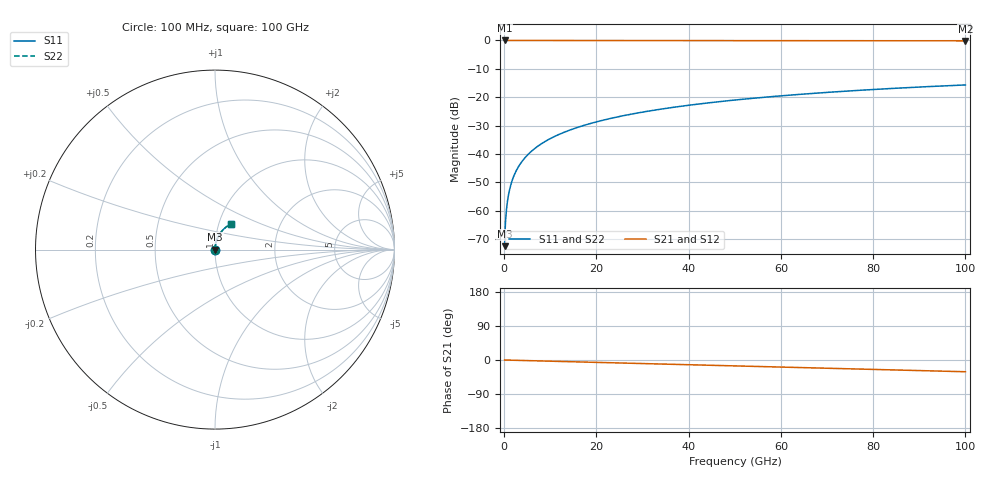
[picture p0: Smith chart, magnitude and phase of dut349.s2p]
! Touchstone file exported from HFSS 2026.1.0
!  File:  C:/ffzhzh/LocalFiles/Ansys_Project_Files/temp_train_TSV_349_1783509998_31944.aedt
!  Generated:  07:28:04 PM Jul  8, 2026
!  Design:  TSV
!  Project:  temp_train_TSV_349_1783509998_31944
! Variables:
!  h_bsmrdl = 2um
!  h_ox = 20um
!  h_rdl = 5um
!  h_sub = 51.63um
!  h_tmrdl = 5um
!  h_tsv = 51.63um
!  h_via = 3um
!  l_bsmrdl = 300um
!  l_sub = 418.1um
!  l_tmrdl = 200um
!  m_sub = 200um
!  pitch = 54.82um
!  r_tsv = 9.05um
!  s_tmrdl = 10um
!  w_bsmrdl = 18um
!  w_sub = 500um
!  w_tmrdl = 12um
!  x_tsv_center1 = 206um
!  x_tsv_center2 = 524um
!  x_tsv_center3 = 736um
!  x_tsv_center4 = 1054um
!  x_tsv_center5 = 1266um
!  x_tsv_center6 = 1584um
# GHz S MA R 50.000000
! Terminal data exported
! Port[1] = TSV1_1_T1
! Port[2] = TSV1_1_T2
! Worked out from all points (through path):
!   1000 points, 100 MHz to 100 GHz, reference 50 ohm
!   highest |S21| = 0.00 dB at 100 MHz (marker M1); lowest = -0.1 dB at 100 GHz (marker M2)
!   group delay of S21, straight-line fit = 861 fs
!   lowest |S11| = -72.4 dB at 100 MHz (marker M3), VSWR 1.00, Z = 50 + j0.0214 ohm
!   |S11| at or under -10 dB: start of sweep to end of sweep
!   |S22| runs from -72.4 to -15.7 dB; largest |S21 - S12| = 3.5e-15
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0.1  0.0002385 63.7  0.9999 -0.0  0.9999 -0.0  0.0002385 63.7
! Gamma 0 0 0 0
! Port Impedance 50 0 50 0
0.3  0.000644 78.5  0.9999 -0.1  0.9999 -0.1  0.000644 78.5
0.7  0.001433 82.7  0.9998 -0.2  0.9998 -0.2  0.001433 82.7
0.8  0.001627 83.1  0.9998 -0.3  0.9998 -0.3  0.001627 83.1
1  0.002012 83.8  0.9998 -0.3  0.9998 -0.3  0.002012 83.8
1.3  0.002586 84.4  0.9998 -0.4  0.9998 -0.4  0.002586 84.4
1.7  0.003347 84.9  0.9997 -0.5  0.9997 -0.5  0.003347 84.9
2.3  0.00448 85.3  0.9997 -0.7  0.9997 -0.7  0.00448 85.3
3  0.00579 85.5  0.9996 -1.0  0.9996 -1.0  0.00579 85.5
3.8  0.007277 85.6  0.9996 -1.2  0.9996 -1.2  0.007277 85.6
4.8  0.009127 85.6  0.9995 -1.5  0.9995 -1.5  0.009127 85.6
6  0.01134 85.5  0.9994 -1.9  0.9994 -1.9  0.01134 85.5
8.8  0.01649 85.1  0.9992 -2.8  0.9992 -2.8  0.01649 85.1
12.4  0.02307 84.2  0.999 -3.9  0.999 -3.9  0.02307 84.2
16.8  0.03106 83.1  0.9987 -5.3  0.9987 -5.3  0.03106 83.1
24.2  0.04439 81.1  0.998 -7.6  0.998 -7.6  0.04439 81.1
33.4  0.06072 78.4  0.9969 -10.5  0.9969 -10.5  0.06072 78.4
41.2  0.07431 76.1  0.9959 -12.9  0.9959 -12.9  0.07431 76.1
50.1  0.08947 73.4  0.9945 -15.6  0.9945 -15.6  0.08947 73.4
66.7  0.1165 68.4  0.9915 -20.8  0.9915 -20.8  0.1165 68.4
83.4  0.1419 63.4  0.988 -25.9  0.988 -25.9  0.1419 63.4
100  0.1647 58.4  0.9842 -31.0  0.9842 -31.0  0.1647 58.4
